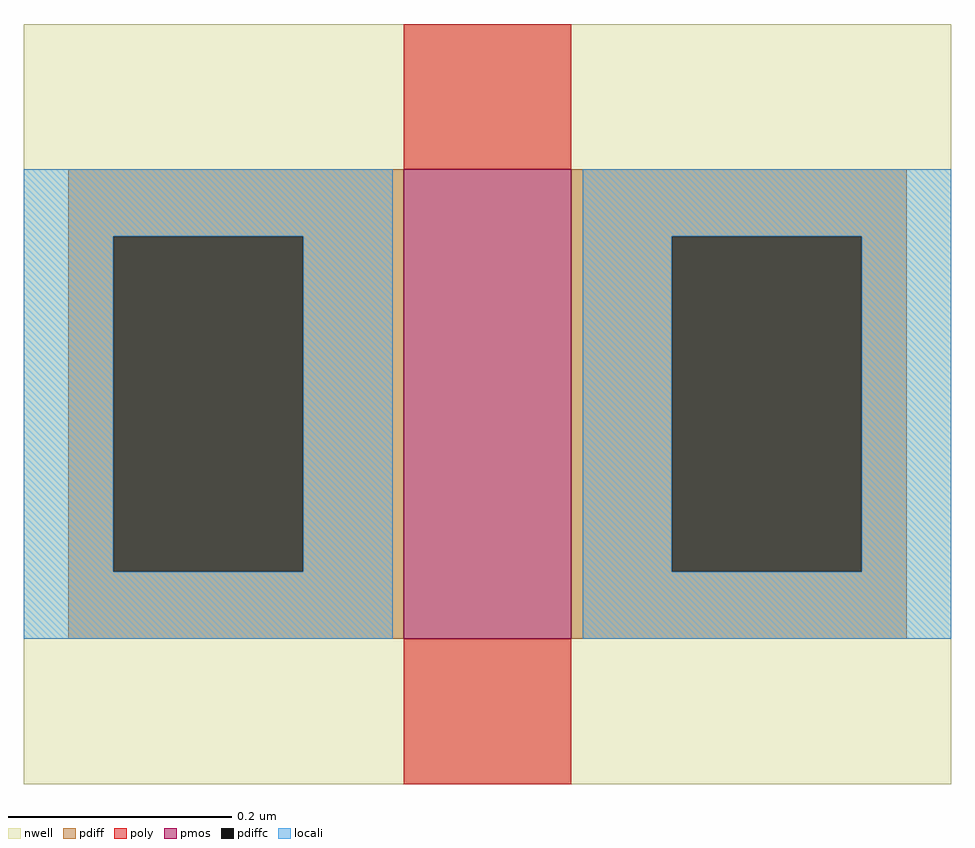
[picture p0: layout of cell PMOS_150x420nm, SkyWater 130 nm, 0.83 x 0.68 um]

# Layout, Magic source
magic
tech sky130A
<< nwell >>
rect -100 0 -17 68
<< pmos >>
rect -66 13 -51 55
<< pdiff >>
rect -96 49 -66 55
rect -96 19 -92 49
rect -75 19 -66 49
rect -96 13 -66 19
rect -51 49 -21 55
rect -51 19 -42 49
rect -25 19 -21 49
rect -51 13 -21 19
<< pdiffc >>
rect -92 19 -75 49
rect -42 19 -25 49
<< poly >>
rect -66 55 -51 68
rect -66 0 -51 13
<< locali >>
rect -100 49 -67 55
rect -100 19 -92 49
rect -75 19 -67 49
rect -100 13 -67 19
rect -50 49 -17 55
rect -50 19 -42 49
rect -25 19 -17 49
rect -50 13 -17 19
<< end >>
